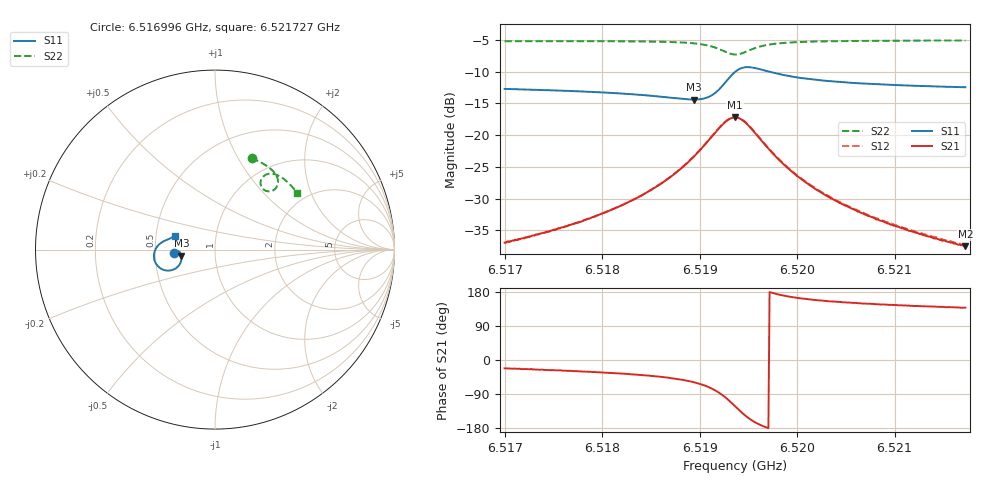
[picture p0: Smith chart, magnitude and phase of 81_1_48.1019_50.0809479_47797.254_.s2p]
#  HZ  S  RI  R  50.00
! Rohde & Schwarz Vector Network Analyzer
! Rohde-Schwarz,ZNB20-2Port,1311601062101988,3.16
! Created: UTC 12/23/2023, 3:42:45 AM
! freq[Hz]  re:S11  im:S11  re:S21  im:S21  re:S12  im:S12  re:S22  im:S22
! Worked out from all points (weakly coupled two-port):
!   401 points, 6.516996 GHz to 6.521727 GHz, reference 50 ohm
!   highest |S21| = -17.23 dB at 6.519361 GHz (marker M1); lowest = -37.5 dB at 6.521727 GHz (marker M2)
!   lowest |S11| = -14.4 dB at 6.518936 GHz (marker M3), VSWR 1.47, Z = 34.1 - j2.44 ohm
!   |S11| at or under -10 dB: start of sweep to 6.519366 GHz; 6.51971 GHz to end of sweep
!   |S22| runs from -7.3 to -5.1 dB; largest |S21 - S12| = 0.0041
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6.5169959e9  -0.2305 -0.0173  0.0132 -0.00534  0.0133 -0.00487  0.2034 0.5093
6.5174453e9  -0.2255 -0.0107  0.0155 -0.00779  0.0158 -0.00723  0.2365 0.4953
6.5177883e9  -0.2205 -0.00697  0.0181 -0.0105  0.0186 -0.01  0.262 0.4821
6.5182378e9  -0.2113 -0.00491  0.0232 -0.0173  0.0238 -0.0166  0.2958 0.4609
6.5185808e9  -0.201 -0.00953  0.0292 -0.0281  0.0302 -0.0273  0.3225 0.4382
6.51877e9  -0.1936 -0.0183  0.0331 -0.0395  0.0345 -0.0387  0.3371 0.4203
6.5189356e9  -0.1875 -0.0345  0.0352 -0.0573  0.0371 -0.0568  0.348 0.3975
6.5190421e9  -0.1867 -0.053  0.0328 -0.0756  0.0351 -0.075  0.3512 0.3771
6.5191367e9  -0.1941 -0.0771  0.0223 -0.0976  0.0253 -0.0974  0.346 0.3539
6.5192668e9  -0.2368 -0.1132  -0.0214 -0.1261  -0.0177 -0.1277  0.3131 0.3255
6.5193141e9  -0.2645 -0.1169  -0.0469 -0.1266  -0.0436 -0.1288  0.293 0.3249
6.5193614e9  -0.2944 -0.1096  -0.0727 -0.1168  -0.07 -0.1199  0.2733 0.333
6.5194087e9  -0.3193 -0.0912  -0.0929 -0.098  -0.091 -0.1014  0.2593 0.3491
6.5194678e9  -0.337 -0.0598  -0.1053 -0.0688  -0.1041 -0.0723  0.2538 0.3733
6.5195743e9  -0.3363 -0.00967  -0.0993 -0.0259  -0.0993 -0.0291  0.2682 0.4061
6.5196807e9  -0.3199 0.0199  -0.0819 -0.00349  -0.0825 -0.00581  0.2909 0.4201
6.5199291e9  -0.2866 0.0462  -0.0514 0.0122  -0.0522 0.0107  0.3332 0.4202
6.5201538e9  -0.269 0.0543  -0.0366 0.0139  -0.0374 0.0131  0.3586 0.4095
6.5205087e9  -0.2522 0.061  -0.0244 0.0131  -0.025 0.0125  0.3884 0.3899
6.5209463e9  -0.2396 0.0675  -0.0166 0.0113  -0.0171 0.011  0.4167 0.3639
6.5213957e9  -0.2305 0.0738  -0.012 0.00978  -0.0126 0.00969  0.4415 0.3366
6.5217269e9  -0.2249 0.0783  -0.00995 0.0089  -0.0103 0.00886  0.4576 0.3161
